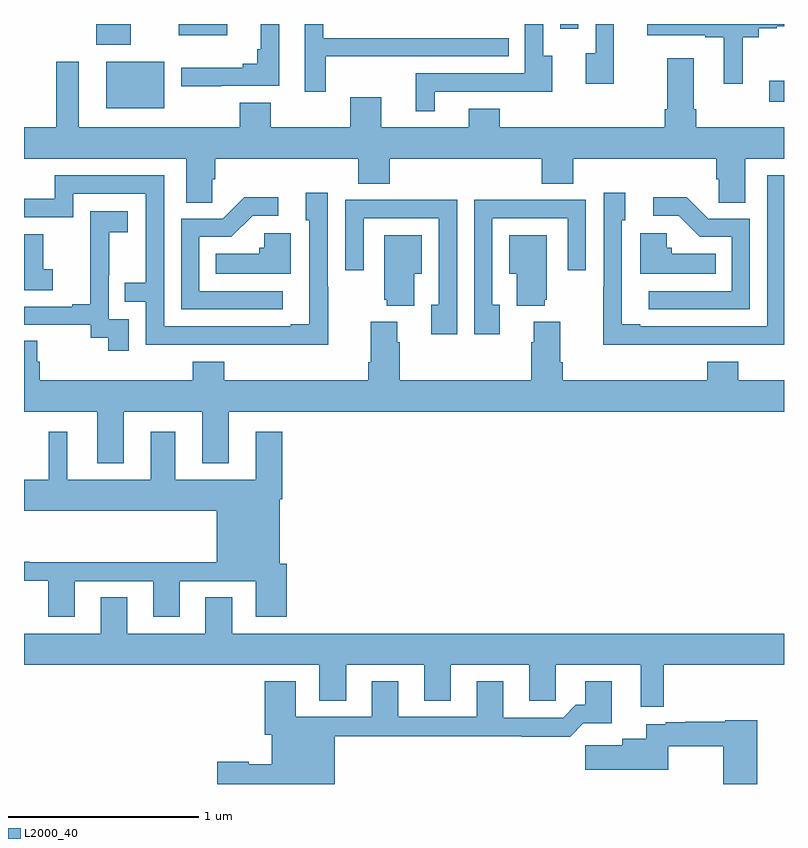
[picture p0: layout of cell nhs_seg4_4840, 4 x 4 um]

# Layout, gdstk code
import gdstk
lib = gdstk.Library(unit=1e-6, precision=1e-09)
def R(c, l, rs):  # rectangles x0, y0, x1, y1
    for r in rs: c.add(gdstk.rectangle(r[:2], r[2:], *l))
def P(c, l, *ps):  # polygons
    for p in ps: c.add(gdstk.Polygon(p, *l))
L2000_40 = (2000, 40)

nhs_seg4_4840 = lib.new_cell('nhs_seg4_4840')
R(nhs_seg4_4840, L2000_40, [(373.433,758.456,373.738,758.701), (376.923,758.492,377,758.602), (373.38,758.792,373.563,758.9), (373.814,758.84,374.071,758.9), (375.822,758.874,375.918,758.9)])
P(nhs_seg4_4840, L2000_40, [(375.161,758.544),(375.781,758.544),(375.781,758.734),(375.732,758.734),(375.732,758.9),(375.636,758.9),(375.636,758.64),(375.062,758.64),(375.062,758.442),(375.161,758.442)],
  [(376.105,758.9),(376.008,758.9),(376.008,758.747),(375.957,758.747),(375.957,758.586),(376.105,758.586)],
  [(374.039,758.574),(374.344,758.574),(374.344,758.9),(374.246,758.9),(374.246,758.767),(374.227,758.767),(374.227,758.69),(374.15,758.69),(374.15,758.671),(373.827,758.671),(373.827,758.573),(374.039,758.573)],
  [(374.587,758.729),(374.966,758.729),(374.966,758.73),(375.551,758.73),(375.551,758.826),(374.574,758.826),(374.574,758.9),(374.477,758.9),(374.477,758.544),(374.587,758.544)],
  [(376.784,758.829),(376.866,758.829),(376.866,758.877),(376.963,758.877),(376.963,758.889),(377,758.889),(377,758.9),(376.281,758.9),(376.281,758.841),(376.586,758.841),(376.586,758.829),(376.682,758.829),(376.682,758.586),(376.784,758.586)],
  [(373.992,758.083),(374.006,758.083),(374.006,758.192),(374.759,758.192),(374.759,758.059),(374.924,758.059),(374.924,758.192),(375.725,758.192),(375.725,758.059),(375.89,758.059),(375.89,758.192),(376.643,758.192),(376.643,758.083),(376.656,758.083),(376.656,757.96),(376.795,757.96),(376.795,758.192),(377,758.192),(377,758.356),(376.538,758.356),(376.538,758.452),(376.525,758.452),(376.525,758.719),(376.385,758.719),(376.385,758.452),(376.373,758.452),(376.373,758.356),(375.505,758.356),(375.505,758.455),(375.341,758.455),(375.341,758.356),(374.881,758.356),(374.881,758.515),(374.717,758.515),(374.717,758.356),(374.299,758.356),(374.299,758.485),(374.135,758.485),(374.135,758.356),(373.288,758.356),(373.288,758.701),(373.171,758.701),(373.171,758.356),(373,758.356),(373,758.192),(373.853,758.192),(373.853,757.96),(373.992,757.96)],
  [(376.511,757.212),(377,757.212),(377,758.103),(376.911,758.103),(376.911,757.308),(376.243,757.308),(376.243,757.321),(376.146,757.321),(376.146,757.866),(376.165,757.866),(376.165,758.011),(376.05,758.011),(376.05,757.517),(376.048,757.517),(376.048,757.211),(376.511,757.211)],
  [(374.601,757.517),(374.598,757.517),(374.598,758.011),(374.483,758.011),(374.483,757.866),(374.502,757.866),(374.502,757.321),(374.405,757.321),(374.405,757.308),(373.737,757.308),(373.737,758.103),(373.163,758.103),(373.163,757.98),(373,757.98),(373,757.884),(373.26,757.884),(373.26,758.007),(373.641,758.007),(373.641,757.538),(373.531,757.538),(373.531,757.437),(373.641,757.437),(373.641,757.212),(374.137,757.212),(374.137,757.211),(374.601,757.211)],
  [(374.362,757.494),(373.923,757.494),(373.923,757.779),(374.092,757.779),(374.203,757.89),(374.338,757.89),(374.338,757.988),(374.159,757.988),(374.046,757.875),(373.827,757.875),(373.827,757.398),(374.362,757.398)],
  [(376.821,757.875),(376.602,757.875),(376.489,757.988),(376.311,757.988),(376.311,757.89),(376.445,757.89),(376.556,757.779),(376.725,757.779),(376.725,757.494),(376.287,757.494),(376.287,757.398),(376.821,757.398)],
  [(375.505,757.422),(375.465,757.422),(375.465,757.878),(375.861,757.878),(375.861,757.605),(375.957,757.605),(375.957,757.974),(375.641,757.974),(375.641,757.976),(375.369,757.976),(375.369,757.266),(375.505,757.266)],
  [(375.279,757.976),(375.007,757.976),(375.007,757.974),(374.691,757.974),(374.691,757.605),(374.787,757.605),(374.787,757.878),(375.183,757.878),(375.183,757.422),(375.143,757.422),(375.143,757.266),(375.279,757.266)],
  [(373.551,757.347),(373.446,757.347),(373.446,757.577),(373.448,757.577),(373.448,757.805),(373.546,757.805),(373.546,757.915),(373.348,757.915),(373.348,757.709),(373.349,757.709),(373.349,757.426),(373.253,757.426),(373.253,757.413),(373,757.413),(373,757.317),(373.35,757.317),(373.35,757.249),(373.443,757.249),(373.443,757.179),(373.551,757.179)],
  [(376.64,757.69),(376.41,757.69),(376.41,757.722),(376.383,757.722),(376.383,757.798),(376.244,757.798),(376.244,757.586),(376.64,757.586)],
  [(374.404,757.798),(374.265,757.798),(374.265,757.722),(374.239,757.722),(374.239,757.69),(374.008,757.69),(374.008,757.586),(374.404,757.586)],
  [(373.15,757.609),(373.101,757.609),(373.101,757.794),(373,757.794),(373,757.698),(373.002,757.698),(373.002,757.5),(373.15,757.5)],
  [(375.74,757.449),(375.751,757.449),(375.751,757.789),(375.554,757.789),(375.554,757.586),(375.593,757.586),(375.593,757.418),(375.74,757.418)],
  [(375.055,757.586),(375.094,757.586),(375.094,757.789),(374.897,757.789),(374.897,757.449),(374.909,757.449),(374.909,757.418),(375.055,757.418)],
  [(373.525,756.86),(373.937,756.86),(373.937,756.587),(374.077,756.587),(374.077,756.86),(377,756.86),(377,757.024),(376.76,757.024),(376.76,757.123),(376.595,757.123),(376.595,757.024),(375.836,757.024),(375.836,757.12),(375.823,757.12),(375.823,757.333),(375.683,757.333),(375.683,757.226),(375.671,757.226),(375.671,757.024),(374.978,757.024),(374.978,757.226),(374.965,757.226),(374.965,757.333),(374.825,757.333),(374.825,757.12),(374.813,757.12),(374.813,757.024),(374.054,757.024),(374.054,757.123),(373.889,757.123),(373.889,757.024),(373.082,757.024),(373.082,757.122),(373.069,757.122),(373.069,757.232),(373,757.232),(373,756.86),(373.385,756.86),(373.385,756.587),(373.525,756.587)],
  [(373.267,755.967),(373.679,755.967),(373.679,755.781),(373.819,755.781),(373.819,755.967),(374.219,755.967),(374.219,755.781),(374.384,755.781),(374.384,756.06),(374.347,756.06),(374.347,756.398),(374.36,756.398),(374.36,756.754),(374.219,756.754),(374.219,756.502),(373.795,756.502),(373.795,756.754),(373.667,756.754),(373.667,756.502),(373.228,756.502),(373.228,756.754),(373.13,756.754),(373.13,756.502),(373,756.502),(373,756.338),(374.015,756.338),(374.015,756.068),(373.031,756.068),(373.031,756.071),(373,756.071),(373,755.97),(373.127,755.97),(373.127,755.781),(373.267,755.781)],
  [(376.368,755.528),(377,755.528),(377,755.692),(374.095,755.692),(374.095,755.882),(373.955,755.882),(373.955,755.692),(373.543,755.692),(373.543,755.882),(373.403,755.882),(373.403,755.692),(373,755.692),(373,755.528),(374.555,755.528),(374.555,755.338),(374.695,755.338),(374.695,755.528),(375.107,755.528),(375.107,755.338),(375.247,755.338),(375.247,755.528),(375.659,755.528),(375.659,755.338),(375.798,755.338),(375.798,755.528),(376.247,755.528),(376.247,755.307),(376.368,755.307)],
  [(374.635,755.152),(375.619,755.152),(375.619,755.15),(375.875,755.15),(375.944,755.219),(376.093,755.219),(376.093,755.44),(375.953,755.44),(375.953,755.317),(375.904,755.317),(375.837,755.25),(375.523,755.25),(375.523,755.44),(375.383,755.44),(375.383,755.253),(374.971,755.253),(374.971,755.44),(374.831,755.44),(374.831,755.253),(374.431,755.253),(374.431,755.44),(374.267,755.44),(374.267,755.16),(374.303,755.16),(374.303,755.005),(374.183,755.005),(374.183,755.018),(374.016,755.018),(374.016,754.9),(374.635,754.9)],
  [(376.859,755.235),(376.692,755.235),(376.692,755.227),(376.48,755.227),(376.48,755.226),(376.378,755.226),(376.378,755.214),(376.274,755.214),(376.274,755.137),(376.148,755.137),(376.148,755.105),(375.954,755.105),(375.954,754.976),(376.392,754.976),(376.392,755.098),(376.681,755.098),(376.681,754.9),(376.859,754.9)])

lib.write_gds('nhs_seg4_4840.gds')
